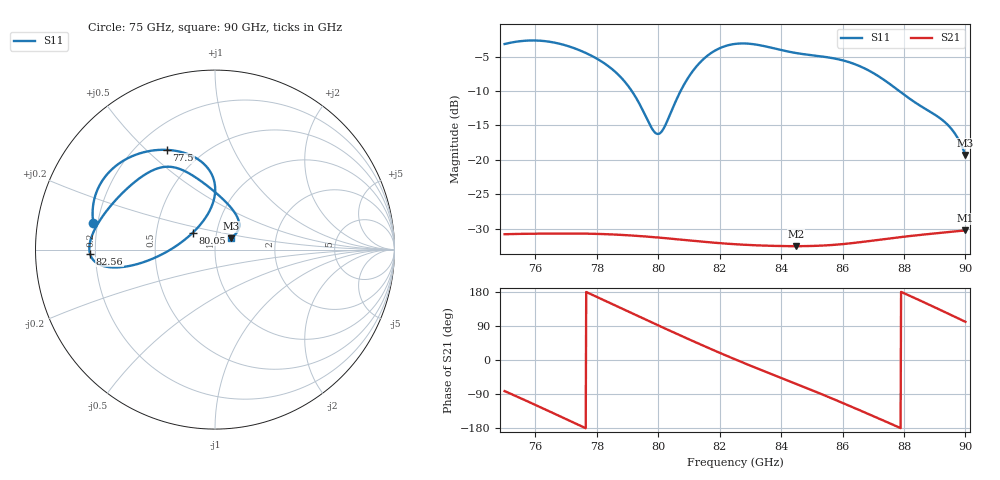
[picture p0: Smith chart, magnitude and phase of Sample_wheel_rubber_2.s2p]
!SWISSto12 MCK measurement data
!name=Sample_wheel_rubber_2
!thickness[mm]=12.500
# GHz S RI R 50.0
!freq ReS11 ImS11 ReS21 ImS21 ReS12 ImS12 ReS22 ImS22
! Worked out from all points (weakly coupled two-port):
!   961 points, 75 GHz to 90 GHz, reference 50 ohm
!   highest |S21| = -30.26 dB at 90 GHz (marker M1); lowest = -32.5 dB at 84.48 GHz (marker M2)
!   lowest |S11| = -19.3 dB at 90 GHz (marker M3), VSWR 1.24, Z = 59.1 + j7.59 ohm
!   |S11| at or under -10 dB: 79.14 GHz to 80.73 GHz (1.591 GHz wide, 1.99 % of centre); 87.85 GHz to end of sweep
!   S12 and S22 are empty: the file has one direction only
!   S11 on the Smith chart (normalised r, x): 75 GHz: 0.18, +0.10; 77.5 GHz: 0.32, +0.58; 80.05 GHz: 0.77, +0.15; 82.56 GHz: 0.18, -0.02; 90 GHz: 1.18, +0.15
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75  -0.678 0.1466  0.00402 -0.0285  0 0  0 0
76.125  -0.6076 0.4117  -0.0159 -0.0243  0 0  0 0
76.84375  -0.451 0.5248  -0.0252 -0.0146  0 0  0 0
77.5  -0.2683 0.5556  -0.029 -0.00269  0 0  0 0
78.23438  -0.0857 0.4971  -0.0267 0.011  0 0  0 0
78.82812  -0.00621 0.388  -0.0202 0.02  0 0  0 0
79.40625  -0.0149 0.2504  -0.0112 0.0256  0 0  0 0
79.79688  -0.07 0.1536  -0.00427 0.0272  0 0  0 0
80  -0.1124 0.1054  -0.000651 0.0272  0 0  0 0
80.04688  -0.1233 0.0946  0.000176 0.0272  0 0  0 0
81.25  -0.4696 -0.0897  0.0179 0.0183  0 0  0 0
81.90625  -0.6248 -0.0906  0.023 0.00945  0 0  0 0
82.5  -0.6941 -0.0312  0.0243 0.000783  0 0  0 0
82.5625  -0.6969 -0.0222  0.0243 -0.000116  0 0  0 0
83.35938  -0.6652 0.1221  0.0213 -0.0107  0 0  0 0
84.48438  -0.4912 0.3387  0.0108 -0.021  0 0  0 0
85  -0.4037 0.4093  0.00431 -0.0233  0 0  0 0
86.15625  -0.2359 0.4597  -0.0118 -0.0216  0 0  0 0
87.5  -0.0461 0.3577  -0.026 -0.0066  0 0  0 0
88.92188  0.1247 0.1794  -0.0229 0.0178  0 0  0 0
89.54688  0.1283 0.1077  -0.0142 0.0264  0 0  0 0
90  0.0877 0.0635  -0.00577 0.0301  0 0  0 0
